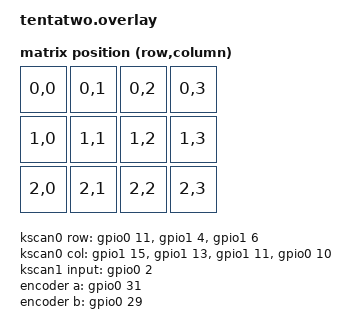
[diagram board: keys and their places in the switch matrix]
#include <dt-bindings/zmk/matrix_transform.h>
#include <physical_layouts.dtsi>

/ {
    kscan0: kscan0 {
        compatible = "zmk,kscan-gpio-matrix";
        diode-direction = "col2row";
        wakeup-source;

        col-gpios
            = <&gpio1 15 GPIO_ACTIVE_HIGH>
            , <&gpio1 13 GPIO_ACTIVE_HIGH>
            , <&gpio1 11 GPIO_ACTIVE_HIGH>
            , <&gpio0 10 GPIO_ACTIVE_HIGH>
            ;

        row-gpios
            = <&gpio0 11 (GPIO_ACTIVE_HIGH | GPIO_PULL_DOWN)>
            , <&gpio1 4 (GPIO_ACTIVE_HIGH | GPIO_PULL_DOWN)>
            , <&gpio1 6 (GPIO_ACTIVE_HIGH | GPIO_PULL_DOWN)>
            ;
    };

    kscan1: kscan1 {
        compatible = "zmk,kscan-gpio-direct";
        wakeup-source;

        input-gpios
            = <&gpio0 2 (GPIO_ACTIVE_LOW | GPIO_PULL_UP)> // Encoder switch
            ;
    };

    encoder: encoder {
        compatible = "alps,ec11";
        a-gpios = <&gpio0 31 (GPIO_ACTIVE_HIGH | GPIO_PULL_UP)>;
        b-gpios = <&gpio0 29 (GPIO_ACTIVE_HIGH | GPIO_PULL_UP)>;
        steps = <80>;
        status = "okay";
    };

    sensors: sensors {
        compatible = "zmk,keymap-sensors";
        sensors = <&encoder>;
        triggers-per-rotation = <20>;
    };
};



/ {
    kscan_composite: kscan_composite {
        compatible = "zmk,kscan-composite";
        rows = <3>;
        columns = <5>;

        matrix {
            kscan = <&kscan0>;
        };

        direct {
            kscan = <&kscan1>;
            row-offset = <2>;
            column-offset = <3>;
        };
    };
};

/ {
    default_transform: keymap_transform0 {
        compatible = "zmk,matrix-transform";
        columns = <4>; // Length of the "col-gpios" array
        rows = <3>; // Length of the "row-gpios" array
        map = <
        //   Key 1 | Key 2 | Key 3 | Key 4
            RC(0,0) RC(0,1) RC(0,2) RC(0,3)
        //   Key 5 | Key 6 | Key 7 | Key 8
            RC(1,0) RC(1,1) RC(1,2) RC(1,3)
        //   Key 9 |Key 10 |Key 11 |Key 12
            RC(2,0) RC(2,1) RC(2,2) RC(2,3)
        >;
    };
};

/ {
    default_layout: default_layout {
        compatible = "zmk,physical-layout";
        display-name = "Default Layout";
        transform = <&default_transform>;
        kscan = <&kscan_composite>;
        keys  //                     w   h    x    y     rot    rx    ry
            = <&key_physical_attrs 100 100    0    0       0     0     0>
            , <&key_physical_attrs 100 100  100    0       0     0     0>
            , <&key_physical_attrs 100 100  200    0       0     0     0>
            , <&key_physical_attrs 100 100  300    0       0     0     0>
            , <&key_physical_attrs 100 100    0  100       0     0     0>
            , <&key_physical_attrs 100 100  100  100       0     0     0>
            , <&key_physical_attrs 100 100  200  100       0     0     0>
            , <&key_physical_attrs 100 100  300  100       0     0     0>
            , <&key_physical_attrs 100 100    0  200       0     0     0>
            , <&key_physical_attrs 100 100  100  200       0     0     0>
            , <&key_physical_attrs 100 100  200  200       0     0     0>
            , <&key_physical_attrs 100 100  300  200       0     0     0>
            ;
    };
};

/ {
    chosen {
        zmk,physical-layout = &default_layout;
        // Other chosen items
        zmk,underglow = &led_strip;
    };
};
